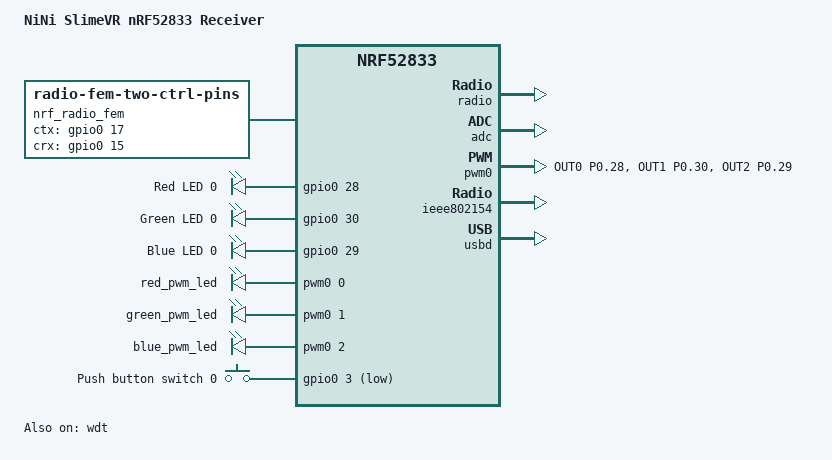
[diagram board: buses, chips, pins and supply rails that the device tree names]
// Copyright (c) 2026
// SPDX-License-Identifier: Apache-2.0
//
// nini_slimevr_5883rx_uf2.dts —— 接收端(receiver)板级设备树（nini 注入）。
// SoC nRF52833（nrf52833_qdaa.dtsi）。与旧板 nini_slimevr_uf2 的差异：
//   · 三色 LED 改【共阴】（高电平点亮）、引脚重排：绿 P0.30 / 蓝 P0.29 / 红 P0.28；
//     新板绿蓝焊对——不移植旧板 apply_pwm 对调补偿；
//   · FEM 换 AT2401C：compatible 只写通用绑定 radio-fem-two-ctrl-pins
//     （不写 skyworks 型号），ctx=P0.17 / crx=P0.15，增益按 AT2401C 起步 22/12 后调；
//   · reg1 改 DCDC（旧板为 LDO）；
//   · UICR 仅 nfct-pins-as-gpios（本板无 P0.18 nRESET 需求）。
// 按键：P0.3（上拉、低电平有效）。

/dts-v1/;
#include <nordic/nrf52833_qdaa.dtsi>
#include <zephyr/dt-bindings/input/input-event-codes.h>

&pinctrl {
	pwm0_default: pwm0_default {
		group1 {
			psels = <NRF_PSEL(PWM_OUT0, 0, 28)>, //red
				<NRF_PSEL(PWM_OUT1, 0, 30)>, //green
				<NRF_PSEL(PWM_OUT2, 0, 29)>; //blue
			nordic,drive-mode = <NRF_DRIVE_S0H1>;
		};
	};

	pwm0_sleep: pwm0_sleep {
		group1 {
			psels = <NRF_PSEL(PWM_OUT0, 0, 28)>, //red
				<NRF_PSEL(PWM_OUT1, 0, 30)>, //green
				<NRF_PSEL(PWM_OUT2, 0, 29)>; //blue
			low-power-enable;
		};
	};
};

/ {
	model = "NiNi SlimeVR nRF52833 Receiver";
	compatible = "nini_slimevr_rx_uf2";

	chosen {
		zephyr,console = &cdc_acm_uart;
		zephyr,shell-uart = &cdc_acm_uart;
		zephyr,uart-mcumgr = &cdc_acm_uart;
		zephyr,bt-mon-uart = &cdc_acm_uart;
		zephyr,bt-c2h-uart = &cdc_acm_uart;
		zephyr,sram = &sram0;
		zephyr,flash = &flash0;
		zephyr,ieee802154 = &ieee802154;
	};

	nrf_radio_fem: at2401cFem {
		// 射频前端 AT2401C：放大射频信号、增大通信距离。只挂通用双控制脚
		// 绑定（radio-fem-two-ctrl-pins），不冒用 skyworks 型号兼容。
		compatible = "radio-fem-two-ctrl-pins";
		ctx-gpios = <&gpio0 17 GPIO_ACTIVE_HIGH>;   // TX 控制脚 P0.17（高有效）
		ctx-settle-time-us = <2>;
		crx-gpios = <&gpio0 15 GPIO_ACTIVE_HIGH>;   // RX 控制脚 P0.15（高有效）
		crx-settle-time-us = <2>;
		tx-gain-db = <22>;   // AT2401C 起步值，上板按链路实测后调
		rx-gain-db = <12>;   // 同上
	};

	/* 三色 LED【共阴】封装（高电平点亮）。每脚同时挂 gpio-leds(led0/1/2，
	 * GPIO 直驱通断) 与 pwm-leds(pwm_led0/1/2，PWM 调亮/呼吸) 双别名：
	 * 稳态/纯闪烁走 GPIO 直驱 + PWM 外设挂起省电，呼吸/中间亮度走 PWM。
	 * 色序 led0=红 / led1=绿 / led2=蓝（led.c 三色约定）。 */
	leds {
		compatible = "gpio-leds";
		led0_red: led_0 {
			gpios = <&gpio0 28 GPIO_ACTIVE_HIGH>;   // 红灯 P0.28（共阴高电平点亮）
			label = "Red LED 0";
		};
		led0_green: led_1 {
			gpios = <&gpio0 30 GPIO_ACTIVE_HIGH>;   // 绿灯 P0.30
			label = "Green LED 0";
		};
		led0_blue: led_2 {
			gpios = <&gpio0 29 GPIO_ACTIVE_HIGH>;   // 蓝灯 P0.29
			label = "Blue LED 0";
		};
	};

	pwmleds {
		compatible = "pwm-leds";
		red_pwm_led: pwm_led_0 {
			pwms = <&pwm0 0 PWM_MSEC(1) PWM_POLARITY_NORMAL>;
		};
		green_pwm_led: pwm_led_1 {
			pwms = <&pwm0 1 PWM_MSEC(1) PWM_POLARITY_NORMAL>;
		};
		blue_pwm_led: pwm_led_2 {
			pwms = <&pwm0 2 PWM_MSEC(1) PWM_POLARITY_NORMAL>;
		};
	};

	buttons {
		compatible = "gpio-keys";
		button0: button_0 {
			gpios = <&gpio0 3 (GPIO_PULL_UP | GPIO_ACTIVE_LOW)>;   // 按键 P0.3（内部上拉，按下拉低）
			label = "Push button switch 0";
			zephyr,code = <INPUT_KEY_0>;
		};
	};

	aliases {
		sw0 = &button0;
		led0 = &led0_red;
		led1 = &led0_green;
		led2 = &led0_blue;
		led0-red = &led0_red;
		led0-green = &led0_green;
		led0-blue = &led0_blue;
		pwm-led0 = &red_pwm_led;
		pwm-led1 = &green_pwm_led;
		pwm-led2 = &blue_pwm_led;
		red-pwm-led = &red_pwm_led;
		green-pwm-led = &green_pwm_led;
		blue-pwm-led = &blue_pwm_led;
		watchdog0 = &wdt0;
	};
};

&reg0 {
	status = "disabled";
};

&reg1 {
	regulator-initial-mode = <NRF5X_REG_MODE_DCDC>;
};

&radio {
	fem = <&nrf_radio_fem>;
};

&adc {
	status = "okay";
};

&gpio0 {
	status = "okay";
};

&gpio1 {
	status = "okay";
};

&gpiote {
	status = "okay";
};

&uicr {
	nfct-pins-as-gpios;
};

&pwm0 {
	status = "okay";
	pinctrl-0 = <&pwm0_default>;
	pinctrl-1 = <&pwm0_sleep>;
	pinctrl-names = "default", "sleep";
};

&ieee802154 {
	status = "okay";
};

// 新版 USB 设备栈（usbd）：src/usb.c 通过 DEVICE_DT_GET(zephyr_udc0) 取此节点。
// VID/PID 与厂商/产品串由 Kconfig 的 SLIMEVR_USB_DEVICE_* 提供（见 Kconfig / prj.conf）。
zephyr_udc0: &usbd {
	compatible = "nordic,nrf-usbd";
	status = "okay";
	cdc_acm_uart: cdc_acm_uart {
		compatible = "zephyr,cdc-acm-uart";
	};
};

&wdt {
	status = "okay";
};

&nfct {
	status = "disabled";
};
